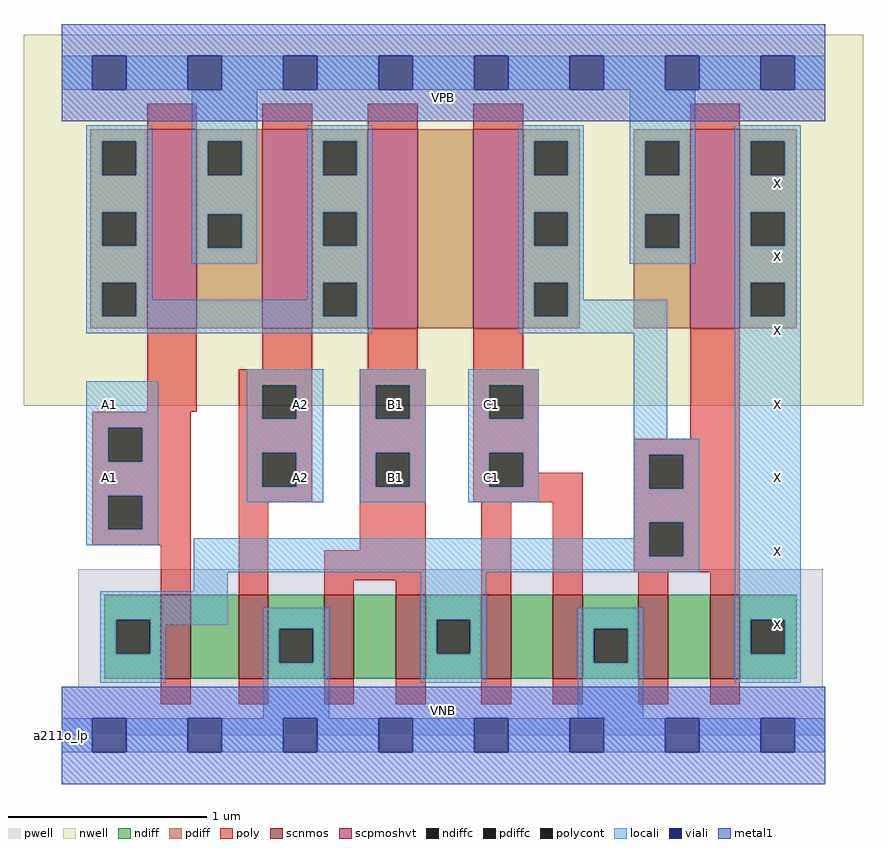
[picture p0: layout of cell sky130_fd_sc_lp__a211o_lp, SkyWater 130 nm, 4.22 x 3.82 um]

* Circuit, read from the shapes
.subckt sky130_fd_sc_lp__a211o_lp A1 A2 B1 C1 VGND VNB VPB VPWR X
XM1 n1 A1 n2 VNB sky130_fd_pr__nfet_01v8 w=0.42 l=0.15
XM2 VGND A2 n1 VNB sky130_fd_pr__nfet_01v8 w=0.42 l=0.15
XM3 n3 B1 VGND VNB sky130_fd_pr__nfet_01v8 w=0.42 l=0.15
XM4 n2 B1 n3 VNB sky130_fd_pr__nfet_01v8 w=0.42 l=0.15
XM5 n4 C1 n2 VNB sky130_fd_pr__nfet_01v8 w=0.42 l=0.15
XM6 VGND C1 n4 VNB sky130_fd_pr__nfet_01v8 w=0.42 l=0.15
XM7 n5 n2 VGND VNB sky130_fd_pr__nfet_01v8 w=0.42 l=0.15
XM8 X n2 n5 VNB sky130_fd_pr__nfet_01v8 w=0.42 l=0.15
XM9 VPWR A1 n6 VPB sky130_fd_pr__pfet_01v8_hvt w=1 l=0.25
XM10 n6 A2 VPWR VPB sky130_fd_pr__pfet_01v8_hvt w=1 l=0.25
XM11 n7 B1 n6 VPB sky130_fd_pr__pfet_01v8_hvt w=1 l=0.25
XM12 n2 C1 n7 VPB sky130_fd_pr__pfet_01v8_hvt w=1 l=0.25
XM13 X n2 VPWR VPB sky130_fd_pr__pfet_01v8_hvt w=1 l=0.25
.ends

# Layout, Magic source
magic
tech sky130A
magscale 1 2
<< nwell >>
rect -38 331 806 704
<< pwell >>
rect 17 49 765 167
rect 0 0 768 49
<< scnmos >>
rect 100 57 130 141
rect 178 57 208 141
rect 264 57 294 141
rect 336 57 366 141
rect 422 57 452 141
rect 494 57 524 141
rect 580 57 610 141
rect 652 57 682 141
<< scpmoshvt >>
rect 86 409 136 609
rect 202 409 252 609
rect 308 409 358 609
rect 414 409 464 609
rect 632 409 682 609
<< ndiff >>
rect 43 116 100 141
rect 43 82 55 116
rect 89 82 100 116
rect 43 57 100 82
rect 130 57 178 141
rect 208 107 264 141
rect 208 73 219 107
rect 253 73 264 107
rect 208 57 264 73
rect 294 57 336 141
rect 366 116 422 141
rect 366 82 377 116
rect 411 82 422 116
rect 366 57 422 82
rect 452 57 494 141
rect 524 107 580 141
rect 524 73 535 107
rect 569 73 580 107
rect 524 57 580 73
rect 610 57 652 141
rect 682 116 739 141
rect 682 82 693 116
rect 727 82 739 116
rect 682 57 739 82
<< pdiff >>
rect 29 597 86 609
rect 29 563 41 597
rect 75 563 86 597
rect 29 526 86 563
rect 29 492 41 526
rect 75 492 86 526
rect 29 455 86 492
rect 29 421 41 455
rect 75 421 86 455
rect 29 409 86 421
rect 136 597 202 609
rect 136 563 147 597
rect 181 563 202 597
rect 136 524 202 563
rect 136 490 147 524
rect 181 490 202 524
rect 136 409 202 490
rect 252 597 308 609
rect 252 563 263 597
rect 297 563 308 597
rect 252 526 308 563
rect 252 492 263 526
rect 297 492 308 526
rect 252 455 308 492
rect 252 421 263 455
rect 297 421 308 455
rect 252 409 308 421
rect 358 409 414 609
rect 464 597 521 609
rect 464 563 475 597
rect 509 563 521 597
rect 464 526 521 563
rect 464 492 475 526
rect 509 492 521 526
rect 464 455 521 492
rect 464 421 475 455
rect 509 421 521 455
rect 464 409 521 421
rect 575 597 632 609
rect 575 563 587 597
rect 621 563 632 597
rect 575 524 632 563
rect 575 490 587 524
rect 621 490 632 524
rect 575 409 632 490
rect 682 597 739 609
rect 682 563 693 597
rect 727 563 739 597
rect 682 526 739 563
rect 682 492 693 526
rect 727 492 739 526
rect 682 455 739 492
rect 682 421 693 455
rect 727 421 739 455
rect 682 409 739 421
<< ndiffc >>
rect 55 82 89 116
rect 219 73 253 107
rect 377 82 411 116
rect 535 73 569 107
rect 693 82 727 116
<< pdiffc >>
rect 41 563 75 597
rect 41 492 75 526
rect 41 421 75 455
rect 147 563 181 597
rect 147 490 181 524
rect 263 563 297 597
rect 263 492 297 526
rect 263 421 297 455
rect 475 563 509 597
rect 475 492 509 526
rect 475 421 509 455
rect 587 563 621 597
rect 587 490 621 524
rect 693 563 727 597
rect 693 492 727 526
rect 693 421 727 455
<< poly >>
rect 86 609 136 635
rect 202 609 252 635
rect 308 609 358 635
rect 414 609 464 635
rect 632 609 682 635
rect 86 325 136 409
rect 202 368 252 409
rect 308 368 358 409
rect 414 368 464 409
rect 178 352 252 368
rect 31 309 130 325
rect 31 275 47 309
rect 81 275 130 309
rect 31 241 130 275
rect 31 207 47 241
rect 81 207 130 241
rect 31 191 130 207
rect 100 141 130 191
rect 178 318 202 352
rect 236 318 252 352
rect 178 284 252 318
rect 178 250 202 284
rect 236 250 252 284
rect 178 234 252 250
rect 300 352 366 368
rect 300 318 316 352
rect 350 318 366 352
rect 300 284 366 318
rect 300 250 316 284
rect 350 250 366 284
rect 178 141 208 234
rect 300 186 366 250
rect 414 352 480 368
rect 414 318 430 352
rect 464 318 480 352
rect 414 284 480 318
rect 632 298 682 409
rect 414 250 430 284
rect 464 264 480 284
rect 575 282 682 298
rect 464 250 524 264
rect 414 234 524 250
rect 264 156 366 186
rect 264 141 294 156
rect 336 141 366 156
rect 422 141 452 234
rect 494 141 524 234
rect 575 248 591 282
rect 625 248 682 282
rect 575 214 682 248
rect 575 180 591 214
rect 625 180 682 214
rect 575 164 682 180
rect 580 141 610 164
rect 652 141 682 164
rect 100 31 130 57
rect 178 31 208 57
rect 264 31 294 57
rect 336 31 366 57
rect 422 31 452 57
rect 494 31 524 57
rect 580 31 610 57
rect 652 31 682 57
<< polycont >>
rect 47 275 81 309
rect 47 207 81 241
rect 202 318 236 352
rect 202 250 236 284
rect 316 318 350 352
rect 316 250 350 284
rect 430 318 464 352
rect 430 250 464 284
rect 591 248 625 282
rect 591 180 625 214
<< locali >>
rect 0 649 31 683
rect 65 649 127 683
rect 161 649 223 683
rect 257 649 319 683
rect 353 649 415 683
rect 449 649 511 683
rect 545 649 607 683
rect 641 649 703 683
rect 737 649 768 683
rect 25 597 91 613
rect 25 563 41 597
rect 75 563 91 597
rect 25 526 91 563
rect 25 492 41 526
rect 75 492 91 526
rect 25 455 91 492
rect 131 597 197 649
rect 131 563 147 597
rect 181 563 197 597
rect 131 524 197 563
rect 131 490 147 524
rect 181 490 197 524
rect 131 474 197 490
rect 247 597 313 613
rect 247 563 263 597
rect 297 563 313 597
rect 247 526 313 563
rect 247 492 263 526
rect 297 492 313 526
rect 25 421 41 455
rect 75 438 91 455
rect 247 455 313 492
rect 247 438 263 455
rect 75 421 263 438
rect 297 421 313 455
rect 25 404 313 421
rect 459 597 525 613
rect 459 563 475 597
rect 509 563 525 597
rect 459 526 525 563
rect 459 492 475 526
rect 509 492 525 526
rect 459 455 525 492
rect 571 597 637 649
rect 571 563 587 597
rect 621 563 637 597
rect 571 524 637 563
rect 571 490 587 524
rect 621 490 637 524
rect 571 474 637 490
rect 677 597 743 613
rect 677 563 693 597
rect 727 563 743 597
rect 677 526 743 563
rect 677 492 693 526
rect 727 492 743 526
rect 459 421 475 455
rect 509 438 525 455
rect 677 455 743 492
rect 509 421 609 438
rect 459 404 609 421
rect 25 309 97 356
rect 25 275 47 309
rect 81 275 97 309
rect 25 241 97 275
rect 25 207 47 241
rect 81 207 97 241
rect 186 352 263 368
rect 186 318 202 352
rect 236 318 263 352
rect 186 284 263 318
rect 186 250 202 284
rect 236 250 263 284
rect 186 234 263 250
rect 300 352 366 368
rect 300 318 316 352
rect 350 318 366 352
rect 300 284 366 318
rect 300 250 316 284
rect 350 250 366 284
rect 300 234 366 250
rect 409 352 480 368
rect 409 318 430 352
rect 464 318 480 352
rect 409 284 480 318
rect 409 250 430 284
rect 464 250 480 284
rect 409 234 480 250
rect 575 298 609 404
rect 677 421 693 455
rect 727 421 743 455
rect 575 282 641 298
rect 575 248 591 282
rect 625 248 641 282
rect 25 191 97 207
rect 575 214 641 248
rect 575 198 591 214
rect 133 180 591 198
rect 625 180 641 214
rect 133 164 641 180
rect 133 145 167 164
rect 39 116 167 145
rect 39 82 55 116
rect 89 111 167 116
rect 89 82 105 111
rect 39 53 105 82
rect 203 107 269 128
rect 203 73 219 107
rect 253 73 269 107
rect 203 17 269 73
rect 361 116 427 164
rect 361 82 377 116
rect 411 82 427 116
rect 361 53 427 82
rect 519 107 585 128
rect 519 73 535 107
rect 569 73 585 107
rect 519 17 585 73
rect 677 116 743 421
rect 677 82 693 116
rect 727 82 743 116
rect 677 53 743 82
rect 0 -17 31 17
rect 65 -17 127 17
rect 161 -17 223 17
rect 257 -17 319 17
rect 353 -17 415 17
rect 449 -17 511 17
rect 545 -17 607 17
rect 641 -17 703 17
rect 737 -17 768 17
<< viali >>
rect 31 649 65 683
rect 127 649 161 683
rect 223 649 257 683
rect 319 649 353 683
rect 415 649 449 683
rect 511 649 545 683
rect 607 649 641 683
rect 703 649 737 683
rect 31 -17 65 17
rect 127 -17 161 17
rect 223 -17 257 17
rect 319 -17 353 17
rect 415 -17 449 17
rect 511 -17 545 17
rect 607 -17 641 17
rect 703 -17 737 17
<< metal1 >>
rect 0 683 768 715
rect 0 649 31 683
rect 65 649 127 683
rect 161 649 223 683
rect 257 649 319 683
rect 353 649 415 683
rect 449 649 511 683
rect 545 649 607 683
rect 641 649 703 683
rect 737 649 768 683
rect 0 617 768 649
rect 0 17 768 49
rect 0 -17 31 17
rect 65 -17 127 17
rect 161 -17 223 17
rect 257 -17 319 17
rect 353 -17 415 17
rect 449 -17 511 17
rect 545 -17 607 17
rect 641 -17 703 17
rect 737 -17 768 17
rect 0 -49 768 -17
<< labels >>
flabel pwell s 0 0 768 49 0 FreeSans 200 0 0 0 VNB
port 6 nsew ground bidirectional
flabel nwell s 0 617 768 666 0 FreeSans 200 0 0 0 VPB
port 7 nsew power bidirectional
rlabel comment s 0 0 0 0 4 a211o_lp
flabel metal1 s 0 617 768 666 0 FreeSans 340 0 0 0 VPWR
port 8 nsew power bidirectional
flabel metal1 s 0 0 768 49 0 FreeSans 340 0 0 0 VGND
port 5 nsew ground bidirectional
flabel locali s 415 242 449 276 0 FreeSans 340 0 0 0 C1
port 4 nsew signal input
flabel locali s 415 316 449 350 0 FreeSans 340 0 0 0 C1
port 4 nsew signal input
flabel locali s 319 242 353 276 0 FreeSans 340 0 0 0 B1
port 3 nsew signal input
flabel locali s 319 316 353 350 0 FreeSans 340 0 0 0 B1
port 3 nsew signal input
flabel locali s 223 242 257 276 0 FreeSans 340 0 0 0 A2
port 2 nsew signal input
flabel locali s 223 316 257 350 0 FreeSans 340 0 0 0 A2
port 2 nsew signal input
flabel locali s 31 242 65 276 0 FreeSans 340 0 0 0 A1
port 1 nsew signal input
flabel locali s 31 316 65 350 0 FreeSans 340 0 0 0 A1
port 1 nsew signal input
flabel locali s 703 94 737 128 0 FreeSans 340 0 0 0 X
port 9 nsew signal output
flabel locali s 703 168 737 202 0 FreeSans 340 0 0 0 X
port 9 nsew signal output
flabel locali s 703 242 737 276 0 FreeSans 340 0 0 0 X
port 9 nsew signal output
flabel locali s 703 316 737 350 0 FreeSans 340 0 0 0 X
port 9 nsew signal output
flabel locali s 703 390 737 424 0 FreeSans 340 0 0 0 X
port 9 nsew signal output
flabel locali s 703 464 737 498 0 FreeSans 340 0 0 0 X
port 9 nsew signal output
flabel locali s 703 538 737 572 0 FreeSans 340 0 0 0 X
port 9 nsew signal output
<< properties >>
string LEFsite unit
string LEFclass CORE
string FIXED_BBOX 0 0 768 666
string GDS_FILE $PDKPATH/libs.ref/sky130_fd_sc_lp/gds/sky130_fd_sc_lp.gds
string LEFsymmetry X Y R90
string GDS_END 1976512
string GDS_START 1968624
<< end >>
